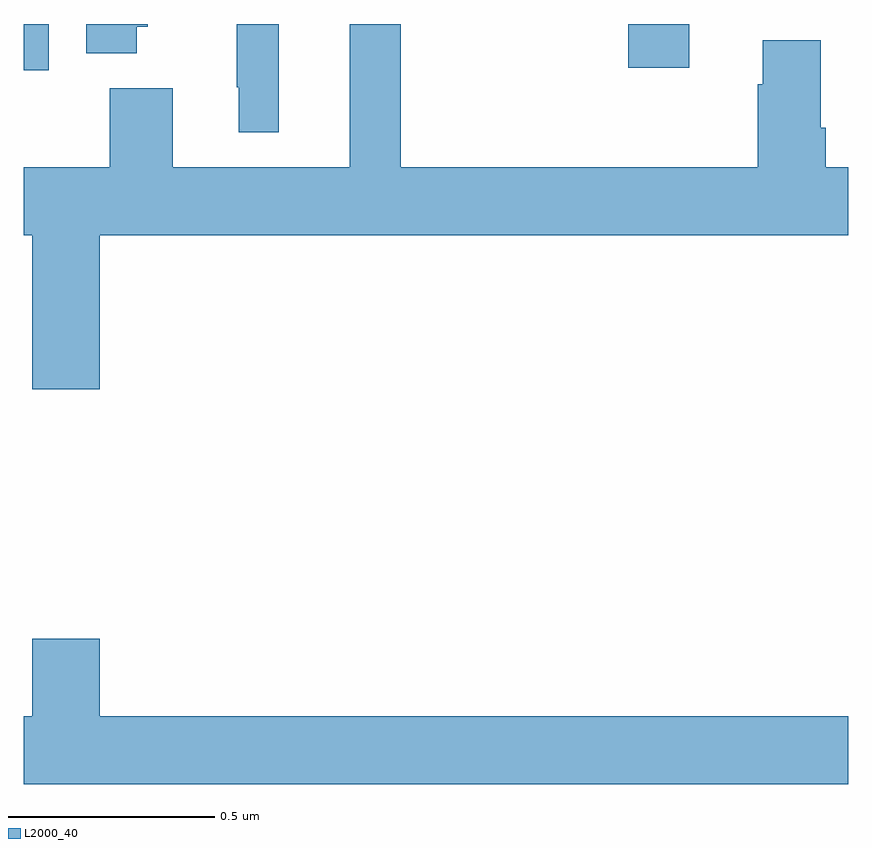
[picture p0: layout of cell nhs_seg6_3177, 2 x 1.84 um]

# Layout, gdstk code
import gdstk
lib = gdstk.Library(unit=1e-6, precision=1e-09)
def R(c, l, rs):  # rectangles x0, y0, x1, y1
    for r in rs: c.add(gdstk.rectangle(r[:2], r[2:], *l))
def P(c, l, *ps):  # polygons
    for p in ps: c.add(gdstk.Polygon(p, *l))
L2000_40 = (2000, 40)

nhs_seg6_3177 = lib.new_cell('nhs_seg6_3177')
R(nhs_seg6_3177, L2000_40, [(153,962.388,153.061,962.5), (154.467,962.394,154.615,962.5)])
P(nhs_seg6_3177, L2000_40, [(153.184,961.988),(155,961.988),(155,962.152),(154.946,962.152),(154.946,962.248),(154.933,962.248),(154.933,962.461),(154.793,962.461),(154.793,962.354),(154.781,962.354),(154.781,962.152),(153.914,962.152),(153.914,962.5),(153.791,962.5),(153.791,962.152),(153.361,962.152),(153.361,962.344),(153.209,962.344),(153.209,962.152),(153,962.152),(153,961.988),(153.02,961.988),(153.02,961.614),(153.184,961.614)],
  [(153.274,962.493),(153.301,962.493),(153.301,962.5),(153.152,962.5),(153.152,962.429),(153.274,962.429)],
  [(153.619,962.5),(153.517,962.5),(153.517,962.347),(153.521,962.347),(153.521,962.237),(153.619,962.237)],
  [(155,960.82),(153.184,960.82),(153.184,961.009),(153.02,961.009),(153.02,960.82),(153,960.82),(153,960.656),(155,960.656)])

lib.write_gds('nhs_seg6_3177.gds')
